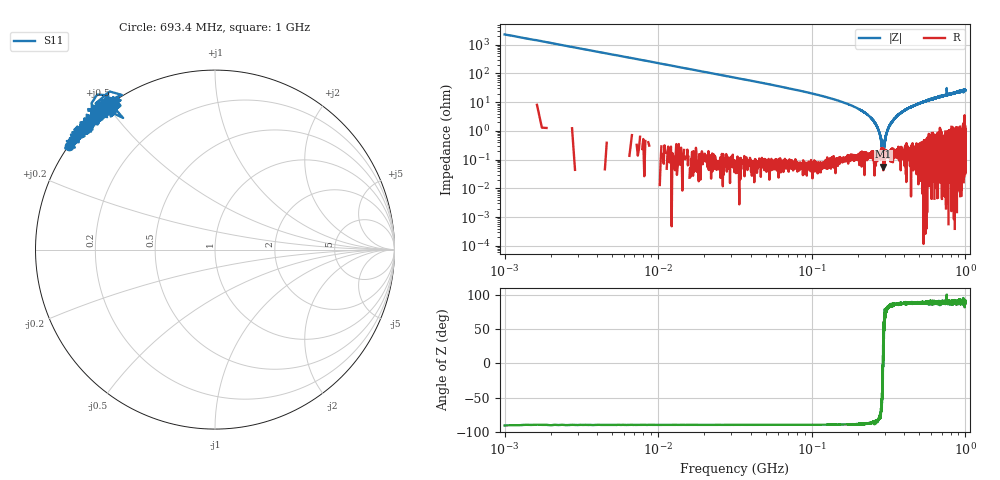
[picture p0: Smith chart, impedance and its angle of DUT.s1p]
! ListType=Lin
# MHz S RI R 50
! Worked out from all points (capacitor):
!   8001 points, 1 MHz to 1 GHz, reference 50 ohm
!   read as one part to ground: C = 69.3 pF near 5.995 MHz
!   lowest |Z| = 57.2 mohm at 292 MHz (marker M1)
!   series resonance near 290.2 MHz, so ESL is about 4.3 nH
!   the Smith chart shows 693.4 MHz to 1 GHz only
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1  0.9997 -0.044
4.4965  0.981 -0.194
10.24075  0.9052 -0.4249
15.985  0.7826 -0.6224
21.4795  0.6374 -0.7693
25.72525  0.5158 -0.8553
30.09587  0.3901 -0.9199
39.58637  0.1293 -0.9896
47.20375  -0.0534 -0.9974
56.944  -0.2489 -0.9668
65.81012  -0.3907 -0.9179
75.55038  -0.5152 -0.8556
86.16475  -0.6173 -0.7843
97.77813  -0.7042 -0.7076
125.875  -0.837 -0.5415
147.6033  -0.8976 -0.4344
176.3245  -0.9438 -0.3159
250.75  -0.989 -0.0913
291.9588  -0.9983 0.00152
375.625  -0.982 0.1604
500.5  -0.9339 0.3458
625.375  -0.8578 0.5089
750.25  -0.7515 0.6331
875.125  -0.6656 0.7246
895.6045  -0.6536 0.754
917.5825  -0.6272 0.7694
977.5225  -0.6007 0.8196
1000  -0.5772 0.8056
